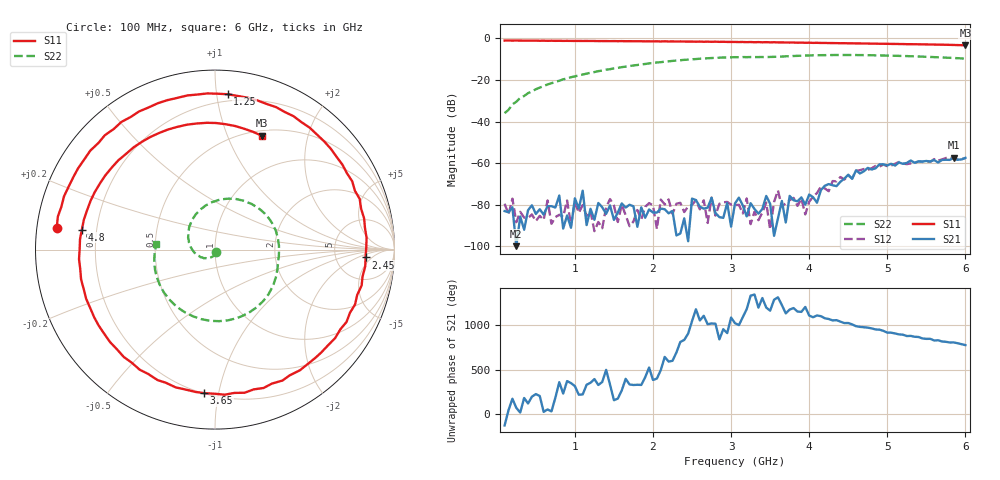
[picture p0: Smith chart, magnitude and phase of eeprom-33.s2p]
! Created with skrf 2.0.0 (http://scikit-rf.org).
# Hz S RI R 50.0
!freq ReS11 ImS11 ReS21 ImS21 ReS12 ImS12 ReS22 ImS22
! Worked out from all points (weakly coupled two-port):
!   119 points, 100 MHz to 6 GHz, reference 50 ohm
!   highest |S21| = -57.38 dB at 5.85 GHz (marker M1); lowest = -99.8 dB at 250 MHz (marker M2)
!   lowest |S11| = -3.3 dB at 6 GHz (marker M3), VSWR 5.36, Z = 27.8 + j66.7 ohm
!   |S11| at or under -10 dB: nowhere
!   |S22| runs from -35.9 to -7.9 dB; largest |S21 - S12| = 0.0003
!   S11 on the Smith chart (normalised r, x): 100 MHz: 0.06, +0.07; 1.25 GHz: 0.15, +1.07; 2.45 GHz: 11, -3; 3.65 GHz: 0.20, -0.91; 4.8 GHz: 0.14, +0.07; 6 GHz: 0.56, +1.33
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1e8  -0.8816 0.1226  -4.52e-05 -5.47e-05  -3.38e-05 -0.000102  0.00833 -0.0137
2.5e8  -0.8411 0.2971  3.72e-06 9.48e-06  -3.06e-05 2.3e-05  -0.00292 -0.03
7.5e8  -0.4694 0.739  -8.6e-05 -6.39e-06  -3.35e-05 3.84e-05  -0.0812 -0.0418
8e8  -0.4233 0.7696  0.000168 -3.37e-06  -3.27e-05 -4.77e-05  -0.0891 -0.0355
8.5e8  -0.3693 0.7923  -1.72e-05 -2.08e-05  3.81e-05 -3.51e-05  -0.0999 -0.0306
1.05e9  -0.1545 0.8588  -6.5e-05 -4.97e-05  4.66e-05 -4.45e-05  -0.1298 0.0041
1.1e9  -0.0945 0.8642  -0.000167 -0.000142  -6.84e-05 7.24e-05  -0.1351 0.0137
1.15e9  -0.043 0.8702  2.82e-05 -1.65e-05  -5.41e-05 1.53e-06  -0.1402 0.0271
1.25e9  0.0698 0.8657  3.63e-05 2.45e-05  -1.65e-05 -1.65e-05  -0.1464 0.0529
2.1e9  0.7797 0.3278  -5.88e-05 5.62e-05  6.03e-05 0.00012  -0.0009 0.269
2.45e9  0.8389 -0.0439  -1.33e-05 -1.73e-06  9.2e-05 -4.81e-06  0.1414 0.2762
3.05e9  0.5579 -0.6043  6.17e-05 -8.91e-05  3.72e-05 -9.14e-05  0.3378 0.1084
3.4e9  0.2152 -0.7789  -5.22e-05 -6.01e-05  -8.47e-06 6.5e-05  0.3556 -0.0353
3.45e9  0.1649 -0.7975  -8.5e-05 0.00014  -0.000111 2.64e-05  0.3533 -0.0552
3.5e9  0.108 -0.7985  7.17e-06 0.000106  -2.58e-05 -9.62e-07  0.352 -0.0723
3.6e9  -0.00124 -0.8031  -2.56e-05 -3.97e-05  -0.000138 -0.000174  0.348 -0.109
3.65e9  -0.0603 -0.7999  -0.000107 6.33e-05  -7.73e-05 4.71e-05  0.3438 -0.1291
4.05e9  -0.4628 -0.6311  0.00015 3.09e-05  3.38e-05 0.000154  0.2661 -0.2894
4.8e9  -0.7416 0.112  -0.000289 -0.000646  -0.000441 -0.000618  -0.0766 -0.3874
5.05e9  -0.6394 0.371  -0.000926 -0.000297  -0.000849 -0.000231  -0.1863 -0.3374
5.85e9  0.1111 0.6888  5.71e-05 0.00135  0.000227 0.00127  -0.3369 -0.031
6e9  0.2595 0.6348  0.000732 0.00114  0.00059 0.00116  -0.3261 0.0285
